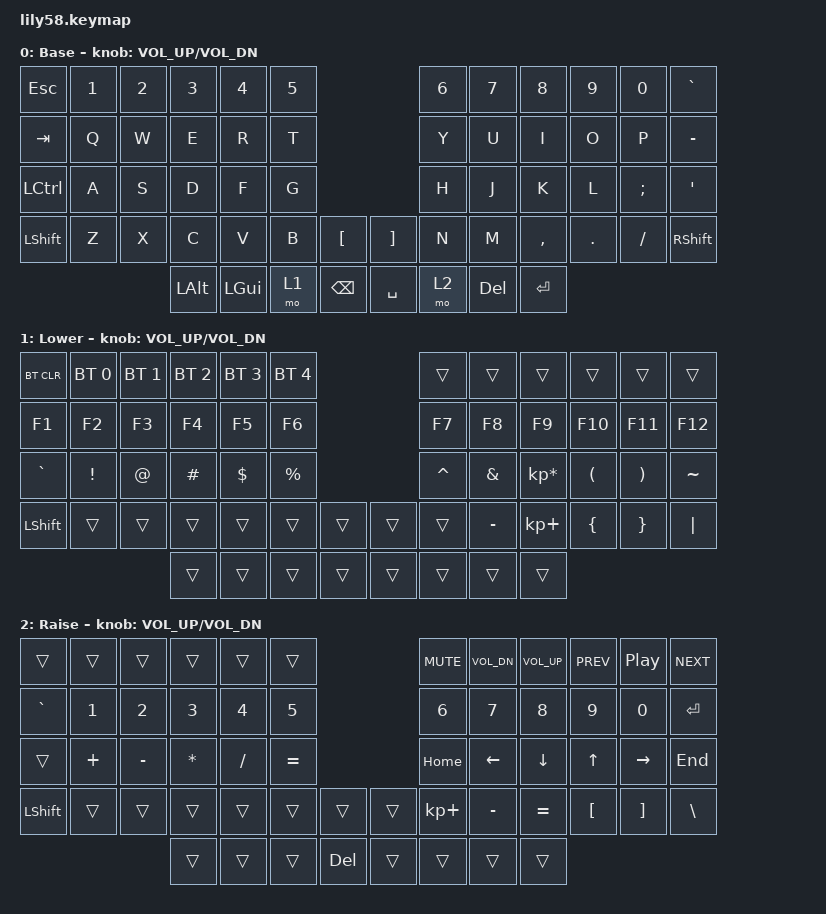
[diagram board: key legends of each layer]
/*
 * Copyright (c) 2020 The ZMK Contributors
 *
 * SPDX-License-Identifier: MIT
 */

#include <behaviors.dtsi>
#include <dt-bindings/zmk/bt.h>
#include <dt-bindings/zmk/keys.h>

/ {
    keymap {
        compatible = "zmk,keymap";

        default_layer {
            // ------------------------------------------------------------------------------------------------------------
            // |  ESC  |  1  |  2  |  3   |  4   |  5   |                   |  6   |  7    |  8    |  9   |   0   |   `   |
            // |  TAB  |  Q  |  W  |  E   |  R   |  T   |                   |  Y   |  U    |  I    |  O   |   P   |   -   |
            // |  CTRL |  A  |  S  |  D   |  F   |  G   |                   |  H   |  J    |  K    |  L   |   ;   |   '   |
            // | SHIFT |  Z  |  X  |  C   |  V   |  B   |   "["  |  |  "]"  |  N   |  M    |  ,    |  .   |   /   | SHIFT |
            //                     | ALT  | GUI  | LOWER|  SPACE |  | ENTER | RAISE| BSPC  | GUI   |

            label = "Base";
            bindings = <
&kp ESC    &kp N1  &kp N2  &kp N3    &kp N4    &kp N5                              &kp N6  &kp N7      &kp N8      &kp N9   &kp N0    &kp GRAVE
&kp TAB    &kp Q   &kp W   &kp E     &kp R     &kp T                               &kp Y   &kp U       &kp I       &kp O    &kp P     &kp MINUS
&kp LCTRL  &kp A   &kp S   &kp D     &kp F     &kp G                               &kp H   &kp J       &kp K       &kp L    &kp SEMI  &kp SQT
&kp LSHFT  &kp Z   &kp X   &kp C     &kp V     &kp B   &kp LBKT         &kp RBKT   &kp N   &kp M       &kp COMMA   &kp DOT  &kp FSLH  &kp RSHFT
                           &kp LALT  &kp LGUI  &mo 1   &kp BACKSPACE    &kp SPACE  &mo 2   &kp DELETE  &kp RETURN
            >;

            sensor-bindings = <&inc_dec_kp C_VOL_UP C_VOL_DN>;
        };

        lower_layer {
            // ------------------------------------------------------------------------------------------------------------
            // | BTCLR | BT1 | BT2 |  BT3 |  BT4 |  BT5 |                   |      |       |       |      |       |       |
            // |  F1   |  F2 |  F3 |  F4  |  F5  |  F6  |                   |  F7  |  F8   |  F9   |  F10 |  F11  |  F12  |
            // |   `   |  !  |  @  |  #   |  $   |  %   |                   |  ^   |  &    |  *    |  (   |   )   |   ~   |
            // |       |     |     |      |      |      |        |  |       |      |  _    |  +    |  {   |   }   |  "|"  |
            //                     |      |      |      |        |  |       |      |       |       |

            label = "Lower";
            bindings = <
&bt BT_CLR      &bt BT_SEL 0  &bt BT_SEL 1  &bt BT_SEL 2  &bt BT_SEL 3  &bt BT_SEL 4                    &trans     &trans     &trans           &trans    &trans    &trans
&kp F1          &kp F2        &kp F3        &kp F4        &kp F5        &kp F6                          &kp F7     &kp F8     &kp F9           &kp F10   &kp F11   &kp F12
&kp GRAVE       &kp EXCL      &kp AT        &kp HASH      &kp DOLLAR    &kp PRCNT                       &kp CARET  &kp AMPS   &kp KP_MULTIPLY  &kp LPAR  &kp RPAR  &kp TILDE
&kp LEFT_SHIFT  &trans        &trans        &trans        &trans        &trans        &trans    &trans  &trans     &kp MINUS  &kp KP_PLUS      &kp LBRC  &kp RBRC  &kp PIPE
                                            &trans        &trans        &trans        &trans    &trans  &trans     &trans     &trans
            >;

            sensor-bindings = <&inc_dec_kp C_VOL_UP C_VOL_DN>;
        };

        raise_layer {
            // ------------------------------------------------------------------------------------------------------------
            // |       |     |     |      |      |      |                   |      |       |       |      |       |       |
            // |   `   |  1  |  2  |  3   |  4   |  5   |                   |  6   |   7   |   8   |  9   |   0   |       |
            // |   F1  |  F2 |  F3 |  F4  |  F5  |  F6  |                   |      |   <-  |   v   |  ^   |  ->   |       |
            // |   F7  |  F8 |  F9 |  F10 |  F11 |  F12 |        |  |       |  +   |   -   |   =   |  [   |   ]   |   \   |
            //                     |      |      |      |        |  |       |      |       |       |

            label = "Raise";
            bindings = <
&trans          &trans    &trans     &trans        &trans     &trans                           &kp C_MUTE   &kp C_VOL_DN  &kp C_VOL_UP  &kp C_PREV  &kp C_PLAY_PAUSE  &kp C_NEXT
&kp GRAVE       &kp N1    &kp N2     &kp N3        &kp N4     &kp N5                           &kp N6       &kp N7        &kp N8        &kp N9      &kp N0            &kp RETURN
&trans          &kp PLUS  &kp MINUS  &kp ASTERISK  &kp SLASH  &kp EQUAL                        &kp HOME     &kp LEFT      &kp DOWN      &kp UP      &kp RIGHT         &kp END
&kp LEFT_SHIFT  &trans    &trans     &trans        &trans     &trans     &trans        &trans  &kp KP_PLUS  &kp MINUS     &kp EQUAL     &kp LBKT    &kp RBKT          &kp BSLH
                                     &trans        &trans     &trans     &kp DELETE    &trans  &trans       &trans        &trans
            >;

            sensor-bindings = <&inc_dec_kp C_VOL_UP C_VOL_DN>;
        };
    };
};
